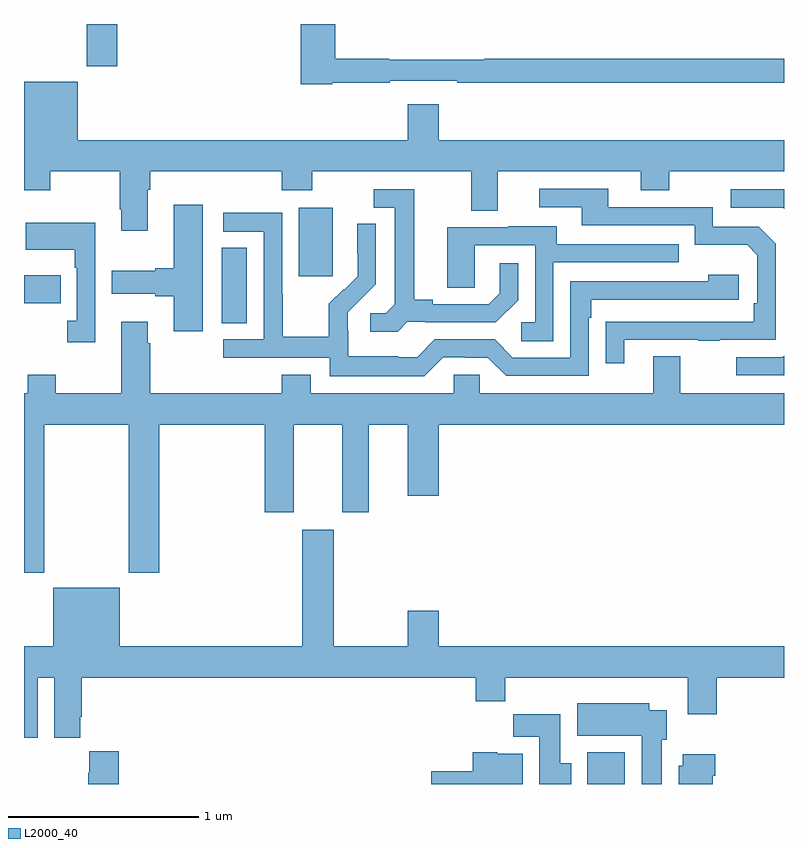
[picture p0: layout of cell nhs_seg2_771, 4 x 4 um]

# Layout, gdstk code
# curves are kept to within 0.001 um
import gdstk
lib = gdstk.Library(unit=1e-6, precision=1e-09)
def R(c, l, rs):  # rectangles x0, y0, x1, y1
    for r in rs: c.add(gdstk.rectangle(r[:2], r[2:], *l))
def P(c, l, *ps):  # polygons
    for p in ps: c.add(gdstk.Polygon(p, *l))
L2000_40 = (2000, 40)

nhs_seg2_771 = lib.new_cell('nhs_seg2_771')
R(nhs_seg2_771, L2000_40, [(153.965,589.8,154.161,589.966), (152.042,592.225,152.173,592.622), (151,592.33,151.193,592.477), (152.447,592.473,152.626,592.834), (151.33,593.577,151.49,593.8)])
P(nhs_seg2_771, L2000_40, [(152.622,593.49),(152.924,593.49),(152.924,593.502),(153.28,593.502),(153.28,593.49),(155,593.49),(155,593.618),(153.422,593.618),(153.422,593.611),(152.922,593.611),(152.922,593.618),(152.639,593.618),(152.639,593.8),(152.456,593.8),(152.456,593.482),(152.622,593.482)],
  [(151.651,592.928),(151.664,592.928),(151.664,593.024),(152.357,593.024),(152.357,592.925),(152.517,592.925),(152.517,593.024),(153.353,593.024),(153.353,592.816),(153.493,592.816),(153.493,593.024),(154.247,593.024),(154.247,592.925),(154.395,592.925),(154.395,593.024),(155,593.024),(155,593.188),(153.184,593.188),(153.184,593.377),(153.02,593.377),(153.02,593.188),(151.282,593.188),(151.282,593.497),(151,593.497),(151,592.925),(151.137,592.925),(151.137,593.024),(151.504,593.024),(151.504,592.825),(151.511,592.825),(151.511,592.713),(151.651,592.713)],
  [(154.159,592.137),(154.549,592.137),(154.549,592.132),(154.661,592.132),(154.661,592.137),(154.956,592.137),(154.956,592.644),(154.866,592.734),(154.626,592.734),(154.626,592.836),(154.075,592.836),(154.075,592.932),(153.711,592.932),(153.711,592.836),(153.935,592.836),(153.935,592.74),(154.53,592.74),(154.53,592.637),(154.807,592.637),(154.86,592.584),(154.86,592.33),(154.84,592.33),(154.84,592.233),(154.063,592.232),(154.063,592.014),(154.159,592.014)],
  [(153.018,592.233),(153.112,592.233),(153.112,592.23),(153.484,592.23),(153.6,592.346),(153.6,592.54),(153.503,592.54),(153.503,592.383),(153.446,592.326),(153.151,592.326),(153.151,592.349),(153.055,592.349),(153.055,592.929),(152.841,592.929),(152.841,592.833),(152.951,592.833),(152.951,592.325),(152.904,592.278),(152.823,592.278),(152.823,592.181),(152.966,592.181)],
  [(155,592.929),(154.719,592.929),(154.719,592.833),(154.995,592.833),(155,592.828)],
  [(151.942,592.849),(151.787,592.849),(151.787,592.514),(151.691,592.514),(151.691,592.501),(151.461,592.501),(151.461,592.379),(151.691,592.379),(151.691,592.367),(151.787,592.367),(151.787,592.182),(151.942,592.182)],
  [(153.207,592.047),(153.323,592.047),(153.323,592.044),(153.441,592.044),(153.537,591.948),(153.972,591.948),(153.972,592.253),(153.985,592.253),(153.985,592.35),(154.762,592.35),(154.762,592.48),(154.601,592.48),(154.601,592.446),(153.876,592.446),(153.876,592.044),(153.573,592.044),(153.477,592.14),(153.162,592.14),(153.069,592.047),(152.969,592.047),(152.969,592.051),(152.706,592.051),(152.706,592.185),(152.704,592.185),(152.704,592.282),(152.85,592.43),(152.85,592.748),(152.754,592.748),(152.754,592.594),(152.756,592.594),(152.756,592.472),(152.685,592.401),(152.682,592.404),(152.605,592.327),(152.605,592.153),(152.361,592.153),(152.361,592.376),(152.358,592.376),(152.358,592.806),(152.049,592.806),(152.049,592.707),(152.262,592.707),(152.262,592.14),(152.049,592.14),(152.049,592.044),(152.61,592.044),(152.61,591.947),(153.107,591.947)],
  [(151.374,592.753),(151.009,592.753),(151.009,592.613),(151.266,592.613),(151.266,592.517),(151.278,592.517),(151.278,592.238),(151.227,592.238),(151.227,592.125),(151.374,592.125)],
  [(153.786,592.545),(154.445,592.545),(154.445,592.641),(153.805,592.641),(153.805,592.735),(153.551,592.735),(153.551,592.731),(153.227,592.731),(153.227,592.411),(153.372,592.411),(153.372,592.635),(153.69,592.635),(153.69,592.23),(153.618,592.23),(153.618,592.129),(153.786,592.129)],
  [(151.107,591.692),(151.552,591.692),(151.552,590.913),(151.712,590.913),(151.712,591.692),(152.267,591.692),(152.267,591.231),(152.419,591.231),(152.419,591.692),(152.675,591.692),(152.675,591.231),(152.815,591.231),(152.815,591.692),(153.02,591.692),(153.02,591.318),(153.184,591.318),(153.184,591.692),(155,591.692),(155,591.856),(154.453,591.856),(154.453,592.051),(154.313,592.051),(154.313,591.856),(153.399,591.856),(153.399,591.954),(153.261,591.954),(153.261,591.856),(152.509,591.856),(152.509,591.955),(152.357,591.955),(152.357,591.856),(151.664,591.856),(151.664,592.121),(151.651,592.121),(151.651,592.234),(151.511,592.234),(151.511,591.856),(151.167,591.856),(151.167,591.955),(151.019,591.955),(151.019,591.856),(151,591.856),(151,590.913),(151.107,590.913)],
  [(155,592.055),(154.992,592.047),(154.749,592.047),(154.749,591.951),(155,591.951)],
  [(151.072,590.36),(151.16,590.36),(151.16,590.043),(151.297,590.043),(151.297,590.155),(151.304,590.155),(151.304,590.36),(153.377,590.36),(153.377,590.236),(153.533,590.236),(153.533,590.36),(154.493,590.36),(154.493,590.166),(154.646,590.166),(154.646,590.36),(155,590.36),(155,590.524),(153.184,590.524),(153.184,590.713),(153.02,590.713),(153.02,590.524),(152.629,590.524),(152.629,591.139),(152.465,591.139),(152.465,590.524),(151.504,590.524),(151.504,590.833),(151.154,590.833),(151.154,590.524),(151,590.524),(151,590.043),(151.072,590.043)],
  [(154.357,590.034),(154.384,590.034),(154.384,590.188),(154.291,590.188),(154.291,590.224),(153.911,590.224),(153.911,590.054),(154.25,590.054),(154.25,589.8),(154.357,589.8)],
  [(153.88,589.908),(153.823,589.908),(153.823,590.166),(153.574,590.166),(153.574,590.048),(153.713,590.048),(153.713,589.8),(153.88,589.8)],
  [(151.499,589.972),(151.343,589.972),(151.343,589.859),(151.339,589.859),(151.339,589.8),(151.499,589.8)],
  [(153.625,589.96),(153.492,589.96),(153.492,589.966),(153.362,589.966),(153.362,589.868),(153.144,589.868),(153.144,589.8),(153.625,589.8)],
  [(154.624,589.844),(154.637,589.844),(154.637,589.957),(154.466,589.957),(154.466,589.896),(154.445,589.896),(154.445,589.8),(154.624,589.8)])

lib.write_gds('nhs_seg2_771.gds')
